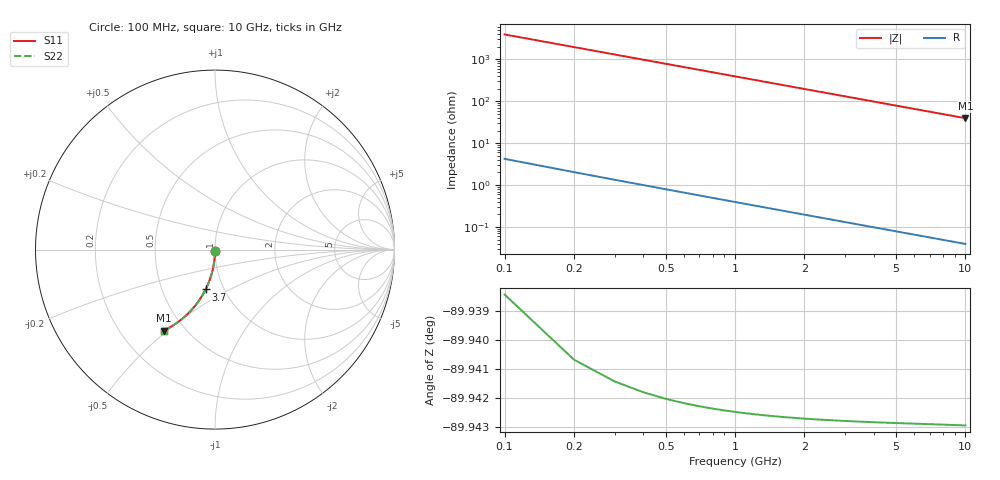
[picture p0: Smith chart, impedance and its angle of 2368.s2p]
# Hz S RI R 50.00
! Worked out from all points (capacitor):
!   100 points, 100 MHz to 10 GHz, reference 50 ohm
!   read as one part in shunt: C = 405 fF near 100 MHz
!   lowest |Z| = 39.6 ohm at 10 GHz (marker M1)
!   S11 on the Smith chart (normalised r, x): 100 MHz: 1.00, -0.01; 3.7 GHz: 0.82, -0.38; 10 GHz: 0.39, -0.49
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1e8  -4.35e-05 -0.00635  0.9999 -0.00636  0.9999 -0.00636  -4.35e-05 -0.00635
2e8  -0.000171 -0.0127  0.9998 -0.0127  0.9998 -0.0127  -0.000171 -0.0127
3e8  -0.000379 -0.019  0.9996 -0.0191  0.9996 -0.0191  -0.000379 -0.019
4e8  -0.000668 -0.0254  0.9993 -0.0254  0.9993 -0.0254  -0.000668 -0.0254
5e8  -0.00104 -0.0317  0.999 -0.0318  0.999 -0.0318  -0.00104 -0.0317
6e8  -0.00149 -0.038  0.9985 -0.0381  0.9985 -0.0381  -0.00149 -0.038
7e8  -0.00202 -0.0444  0.998 -0.0444  0.998 -0.0444  -0.00202 -0.0444
8e8  -0.00262 -0.0507  0.9974 -0.0507  0.9974 -0.0507  -0.00262 -0.0507
9e8  -0.00331 -0.0569  0.9967 -0.057  0.9967 -0.057  -0.00331 -0.0569
1.1e9  -0.00493 -0.0695  0.9951 -0.0696  0.9951 -0.0696  -0.00493 -0.0695
1.4e9  -0.00793 -0.0882  0.9921 -0.0883  0.9921 -0.0883  -0.00793 -0.0882
1.8e9  -0.013 -0.1127  0.987 -0.1129  0.987 -0.1129  -0.013 -0.1127
2.1e9  -0.0176 -0.1309  0.9824 -0.1311  0.9824 -0.1311  -0.0176 -0.1309
2.5e9  -0.0247 -0.1547  0.9753 -0.1549  0.9753 -0.1549  -0.0247 -0.1547
2.9e9  -0.0329 -0.1779  0.967 -0.1782  0.967 -0.1782  -0.0329 -0.1779
3.4e9  -0.0447 -0.2059  0.9553 -0.2063  0.9553 -0.2063  -0.0447 -0.2059
3.7e9  -0.0525 -0.2223  0.9475 -0.2226  0.9475 -0.2226  -0.0525 -0.2223
4.4e9  -0.0725 -0.2586  0.9275 -0.259  0.9275 -0.259  -0.0725 -0.2586
5.1e9  -0.0949 -0.2924  0.9051 -0.2929  0.9051 -0.2929  -0.0949 -0.2924
6.7e9  -0.1529 -0.3591  0.8471 -0.3598  0.8471 -0.3598  -0.1529 -0.3591
8.4e9  -0.2206 -0.4137  0.7794 -0.4146  0.7794 -0.4146  -0.2206 -0.4137
1e10  -0.2858 -0.4508  0.7142 -0.4518  0.7142 -0.4518  -0.2858 -0.4508
